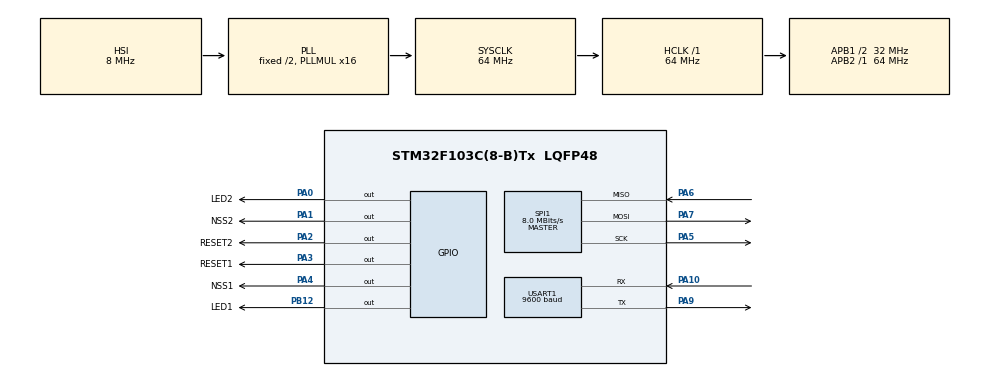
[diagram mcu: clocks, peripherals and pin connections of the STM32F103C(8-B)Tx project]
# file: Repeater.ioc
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IWDG.Prescaler=IWDG_PRESCALER_16
Mcu.Family=STM32F1
Mcu.Name=STM32F103C(8-B)Tx
Mcu.Package=LQFP48
NVIC.PriorityGroup=NVIC_PRIORITYGROUP_4
NVIC.USART1_IRQn=true\:0\:0\:false\:false\:true\:true\:true
PA0-WKUP.GPIO_Label=LED2
PA0-WKUP.Signal=GPIO_Output
PA1.GPIO_Label=NSS2
PA1.Signal=GPIO_Output
PA10.Mode=Asynchronous
PA10.Signal=USART1_RX
PA13.Mode=Serial_Wire
PA13.Signal=SYS_JTMS-SWDIO
PA14.Mode=Serial_Wire
PA14.Signal=SYS_JTCK-SWCLK
PA2.GPIO_Label=RESET2
PA2.Signal=GPIO_Output
PA3.GPIO_Label=RESET1
PA3.Signal=GPIO_Output
PA4.GPIO_Label=NSS1
PA4.Signal=GPIO_Output
PA5.Mode=Full_Duplex_Master
PA5.Signal=SPI1_SCK
PA6.Mode=Full_Duplex_Master
PA6.Signal=SPI1_MISO
PA7.Mode=Full_Duplex_Master
PA7.Signal=SPI1_MOSI
PA9.Mode=Asynchronous
PA9.Signal=USART1_TX
PB12.GPIO_Label=LED1
PB12.Signal=GPIO_Output
ProjectManager.HeapSize=0x200
ProjectManager.StackSize=0x400
ProjectManager.TargetToolchain=STM32CubeIDE
RCC.AHBFreq_Value=64000000
RCC.APB1CLKDivider=RCC_HCLK_DIV2
RCC.APB1Freq_Value=32000000
RCC.APB1TimFreq_Value=64000000
RCC.APB2Freq_Value=64000000
RCC.APB2TimFreq_Value=64000000
RCC.HCLKFreq_Value=64000000
RCC.PLLMUL=RCC_PLL_MUL16
RCC.SYSCLKFreq_VALUE=64000000
RCC.SYSCLKSource=RCC_SYSCLKSOURCE_PLLCLK
RCC.USBFreq_Value=64000000
SPI1.BaudRatePrescaler=SPI_BAUDRATEPRESCALER_8
SPI1.CalculateBaudRate=8.0 MBits/s
SPI1.Direction=SPI_DIRECTION_2LINES
SPI1.Mode=SPI_MODE_MASTER
SPI1.VirtualType=VM_MASTER
USART1.BaudRate=9600
USART1.VirtualMode=VM_ASYNC
VP_IWDG_VS_IWDG.Mode=IWDG_Activate
board=custom

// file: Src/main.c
/* USER CODE BEGIN Header */
/**
 ******************************************************************************
 * @file           : main.c
 * @brief          : Main program body
 ******************************************************************************
 * @attention
 *
 * <h2><center>&copy; Copyright (c) 2020 STMicroelectronics.
 * All rights reserved.</center></h2>
 *
 * This software component is licensed by ST under BSD 3-Clause license,
 * the "License"; You may not use this file except in compliance with the
 * License. You may obtain a copy of the License at:
 *                        opensource.org/licenses/BSD-3-Clause
 *
 ******************************************************************************
 */
/* USER CODE END Header */

#include "main.h"

/* USER CODE BEGIN Includes */
//#define RANGE_TEST
/* USER CODE END Includes */

/* USER CODE BEGIN PM */
repeaterSettings_t *flashSettings = (repeaterSettings_t*) 0x0800FC00;
/* USER CODE END PM */

IWDG_HandleTypeDef hiwdg;

SPI_HandleTypeDef hspi1;

UART_HandleTypeDef huart1;

/* USER CODE BEGIN PV */

char string[32];

SX127X_t myRadio1;
SX127X_t myRadio2;
repeaterSettings_t settings;
char error[40];
flag_t flag;
const uint32_t version = 1;
/* USER CODE END PV */

void SystemClock_Config(void);
static void MX_GPIO_Init(void);
static void MX_SPI1_Init(void);
static void MX_USART1_UART_Init(void);
static void MX_IWDG_Init(void);

/* USER CODE BEGIN 0 */
void saveSettings() {
	uint16_t i = 0;
	uint16_t const settingsSize = (sizeof(repeaterSettings_t) + 3) / 4;
	FLASH_EraseInitTypeDef eraseInit;
	uint32_t pageError;
	eraseInit.TypeErase = FLASH_TYPEERASE_PAGES;
	eraseInit.PageAddress = (uint32_t) flashSettings;
	eraseInit.NbPages = 1;
	HAL_FLASH_Unlock();
	HAL_FLASHEx_Erase(&eraseInit, &pageError);
	for (i = 0; i < settingsSize; i++)
		HAL_FLASH_Program(FLASH_TYPEPROGRAM_WORD,
				((uint32_t) flashSettings) + 4 * i,
				*(((uint32_t*) &settings) + i));
	HAL_FLASH_Lock();
}

void settingsInitiate() {
	myRadio1.sf = settings.sf1;
	myRadio1.bw = settings.bw1;
	myRadio1.cr = settings.cr1;
	myRadio1.frequency = (uint32_t) (settings.realFrequency1 / 61.035f);
	myRadio1.preamble = settings.preamble1;
	myRadio1.power = settings.power1;
	myRadio1.syncWord = settings.sw1;

	myRadio2.sf = settings.sf2;
	myRadio2.bw = settings.bw2;
	myRadio2.cr = settings.cr2;
	myRadio2.frequency = (uint32_t) (settings.realFrequency2 / 61.035f);
	myRadio2.preamble = settings.preamble2;
	myRadio2.power = settings.power2;
	myRadio2.syncWord = settings.sw2;

}

uint8_t tryLoadSettings() {
	if (flashSettings->realFrequency1 >= MIN_FREQUENCY
			&& flashSettings->realFrequency1 <= MAX_FREQUENCY)
		if (flashSettings->sf1 > 6 && flashSettings->sf1 < 13)
			if (flashSettings->bw1 < 10)
				if (flashSettings->cr1 > 0 && flashSettings->cr1 < 5)
					if (flashSettings->preamble1 > 1
							&& flashSettings->preamble1 < 65535)
						if (flashSettings->sw1 != 0x34)
							if (flashSettings->power1 < 21
									|| flashSettings->power1 > 9)
								if (flashSettings->realFrequency2
										>= MIN_FREQUENCY
										&& flashSettings->realFrequency2
												<= MAX_FREQUENCY)
									if (flashSettings->sf2 > 6
											&& flashSettings->sf2 < 13)
										if (flashSettings->bw2 < 10)
											if (flashSettings->cr2 > 0
													&& flashSettings->cr2 < 5)
												if (flashSettings->preamble2 > 1
														&& flashSettings->preamble2
																< 65535)
													if (flashSettings->sw2
															!= 0x34)
														if (flashSettings->power2
																< 21
																|| flashSettings->power2
																		> 9) {
															settings =
																	*flashSettings;
															settingsInitiate();
															return 1;
														}
	return 0;
}

void useDefaultSettings() {
	settings.realFrequency1 = DEF_FREQUENCY;
	settings.sf1 = 12;
	settings.bw1 = 7;
	settings.cr1 = 4;
	settings.power1 = 20;
	settings.preamble1 = 5;
	settings.sw1 = 1;

	settings.realFrequency2 = DEF_FREQUENCY2;
	settings.sf2 = 10;
	settings.bw2 = 7;
	settings.cr2 = 4;
	settings.power2 = 20;
	settings.preamble2 = 5;
	settings.sw2 = 1;

	settingsInitiate();
}

void RadioInit() {
	SX127X_dio_t nss1;
	SX127X_dio_t nss2;
	SX127X_dio_t reset1;
	SX127X_dio_t reset2;

	nss1.pin = NSS1_Pin;
	nss1.port = NSS1_GPIO_Port;
	reset1.pin = RESET1_Pin;
	reset1.port = RESET1_GPIO_Port;
	nss2.pin = NSS2_Pin;
	nss2.port = NSS2_GPIO_Port;
	reset2.pin = RESET2_Pin;
	reset2.port = RESET2_GPIO_Port;

	SX127X_PortConfig(&myRadio1, reset1, nss1, &hspi1);
	SX127X_PortConfig(&myRadio2, reset2, nss2, &hspi1);

	myRadio1.alwaysRX = true;
	myRadio1.implicitHeader = true;
	myRadio1.crcEnable = true;
	myRadio1.len = 3;

	myRadio2.alwaysRX = true;
	myRadio2.implicitHeader = true;
	myRadio2.crcEnable = true;
	myRadio2.len = 3;

	if (tryLoadSettings() == 0)
		useDefaultSettings();
#ifdef RANGE_TEST
	myRadio2.frequency = myRadio1.frequency;
	myRadio2.sf = myRadio1.sf;
	myRadio2.cr = myRadio1.cr;
	myRadio2.bw = myRadio1.bw;
	myRadio2.preamble = myRadio1.preamble;
	myRadio2.syncWord = myRadio1.syncWord;
	myRadio2.power = myRadio1.power;

#endif
	SX127X_init(&myRadio1);
	SX127X_init(&myRadio2);

	SX127X_config(&myRadio1);
	SX127X_config(&myRadio2);
}

void LedRoutine() {
	uint8_t blinker = (HAL_GetTick() % 50) > 25;

	if (myRadio1.status == TX)
		HAL_GPIO_WritePin(LED1_GPIO_Port, LED1_Pin, GPIO_PIN_RESET);
	else if (myRadio1.signalDetected)
		HAL_GPIO_WritePin(LED1_GPIO_Port, LED1_Pin, blinker);
	else
		HAL_GPIO_WritePin(LED1_GPIO_Port, LED1_Pin, GPIO_PIN_SET);

	if (myRadio2.status == TX)
		HAL_GPIO_WritePin(LED2_GPIO_Port, LED2_Pin, GPIO_PIN_RESET);
	else if (myRadio2.signalDetected)
		HAL_GPIO_WritePin(LED2_GPIO_Port, LED2_Pin, blinker);
	else
		HAL_GPIO_WritePin(LED2_GPIO_Port, LED2_Pin, GPIO_PIN_SET);
}

void HAL_UART_RxCpltCallback(UART_HandleTypeDef *huart) {
	readByte();
}

/* USER CODE END 0 */

int main(void)
{

  /* MCU Configuration--------------------------------------------------------*/

  /* Reset of all peripherals, Initializes the Flash interface and the Systick. */
  HAL_Init();

  /* Configure the system clock */
  SystemClock_Config();

  /* Initialize all configured peripherals */
  MX_GPIO_Init();
  MX_SPI1_Init();
  MX_USART1_UART_Init();
  MX_IWDG_Init();

  /* Infinite loop */
  /* USER CODE BEGIN WHILE */

	RadioInit();

	uartInit();
#ifdef RANGE_TEST

	myRadio1.txBuf[0] = 255;
	myRadio1.txBuf[1] = 255;
	myRadio1.txBuf[2] = 1;
	myRadio2.txBuf[0] = 255;
	myRadio2.txBuf[1] = 255;
	myRadio2.txBuf[2] = 2;
#endif
	while (1) {
		HAL_IWDG_Refresh(&hiwdg);
#ifdef RANGE_TEST

		static uint32_t lastSend = 0;
		static bool first = true;
		if (HAL_GetTick() - lastSend > 1500) {
			lastSend = HAL_GetTick();
			if (first)
				SX127X_transmitAsync(&myRadio1, 3);
			else
				SX127X_transmitAsync(&myRadio2, 3);
			first = !first;
		}
#endif
		SX127X_Routine(&myRadio1);
		SX127X_Routine(&myRadio2);

		if (flag.saveSettings) {
			flag.saveSettings = 0;
			saveSettings();
		}

		if (flag.uartRx) {
			flag.uartRx = 0;

			uartReceiveHandler();

		}
#ifndef RANGE_TEST
		if (myRadio1.readBytes > 0) {
			if (myRadio1.badCrc) {
				sprintf(string, "1 to 2: Bad CRC\n");
				HAL_UART_Transmit(&huart1, (uint8_t*) string, strlen(string), 100);
				myRadio1.readBytes = 0;
				continue;
			}
			memcpy(myRadio2.txBuf, myRadio1.rxBuf, myRadio1.readBytes);
			sprintf(string, "1 to 2:  %02x %02x %02x\n", myRadio1.rxBuf[0],
					myRadio1.rxBuf[1], myRadio1.rxBuf[2]);
			HAL_UART_Transmit(&huart1, (uint8_t*) string, strlen(string), 100);
			SX127X_transmitAsync(&myRadio2, myRadio1.readBytes);
			myRadio1.readBytes = 0;
		}

		if (myRadio2.readBytes > 0) {
			if (myRadio2.badCrc) {
				sprintf(string, "2 to 1: Bad CRC\n");
				HAL_UART_Transmit(&huart1, (uint8_t*) string, strlen(string), 100);
				myRadio2.readBytes = 0;
				continue;
			}
			memcpy(myRadio1.txBuf, myRadio2.rxBuf, myRadio2.readBytes);
			sprintf(string, "2 to 1: %02x %02x %02x\n", myRadio2.rxBuf[0],
					myRadio2.rxBuf[1], myRadio2.rxBuf[2]);
			HAL_UART_Transmit(&huart1, (uint8_t*) string, strlen(string), 100);
			SX127X_transmitAsync(&myRadio1, myRadio2.readBytes);
			myRadio2.readBytes = 0;
		}
#endif
		LedRoutine();

    /* USER CODE END WHILE */

	}
}

void SystemClock_Config(void)
{
  RCC_OscInitTypeDef RCC_OscInitStruct = {0};
  RCC_ClkInitTypeDef RCC_ClkInitStruct = {0};

  /** Initializes the CPU, AHB and APB busses clocks
  */
  RCC_OscInitStruct.OscillatorType = RCC_OSCILLATORTYPE_HSI|RCC_OSCILLATORTYPE_LSI;
  RCC_OscInitStruct.HSIState = RCC_HSI_ON;
  RCC_OscInitStruct.HSICalibrationValue = RCC_HSICALIBRATION_DEFAULT;
  RCC_OscInitStruct.LSIState = RCC_LSI_ON;
  RCC_OscInitStruct.PLL.PLLState = RCC_PLL_ON;
  RCC_OscInitStruct.PLL.PLLSource = RCC_PLLSOURCE_HSI_DIV2;
  RCC_OscInitStruct.PLL.PLLMUL = RCC_PLL_MUL16;
  if (HAL_RCC_OscConfig(&RCC_OscInitStruct) != HAL_OK)
  {
    Error_Handler();
  }
  /** Initializes the CPU, AHB and APB busses clocks
  */
  RCC_ClkInitStruct.ClockType = RCC_CLOCKTYPE_HCLK|RCC_CLOCKTYPE_SYSCLK
                              |RCC_CLOCKTYPE_PCLK1|RCC_CLOCKTYPE_PCLK2;
  RCC_ClkInitStruct.SYSCLKSource = RCC_SYSCLKSOURCE_PLLCLK;
  RCC_ClkInitStruct.AHBCLKDivider = RCC_SYSCLK_DIV1;
  RCC_ClkInitStruct.APB1CLKDivider = RCC_HCLK_DIV2;
  RCC_ClkInitStruct.APB2CLKDivider = RCC_HCLK_DIV1;

  if (HAL_RCC_ClockConfig(&RCC_ClkInitStruct, FLASH_LATENCY_2) != HAL_OK)
  {
    Error_Handler();
  }
}

static void MX_IWDG_Init(void)
{

  hiwdg.Instance = IWDG;
  hiwdg.Init.Prescaler = IWDG_PRESCALER_16;
  hiwdg.Init.Reload = 4095;
  if (HAL_IWDG_Init(&hiwdg) != HAL_OK)
  {
    Error_Handler();
  }

}

static void MX_SPI1_Init(void)
{

  /* SPI1 parameter configuration*/
  hspi1.Instance = SPI1;
  hspi1.Init.Mode = SPI_MODE_MASTER;
  hspi1.Init.Direction = SPI_DIRECTION_2LINES;
  hspi1.Init.DataSize = SPI_DATASIZE_8BIT;
  hspi1.Init.CLKPolarity = SPI_POLARITY_LOW;
  hspi1.Init.CLKPhase = SPI_PHASE_1EDGE;
  hspi1.Init.NSS = SPI_NSS_SOFT;
  hspi1.Init.BaudRatePrescaler = SPI_BAUDRATEPRESCALER_8;
  hspi1.Init.FirstBit = SPI_FIRSTBIT_MSB;
  hspi1.Init.TIMode = SPI_TIMODE_DISABLE;
  hspi1.Init.CRCCalculation = SPI_CRCCALCULATION_DISABLE;
  hspi1.Init.CRCPolynomial = 10;
  if (HAL_SPI_Init(&hspi1) != HAL_OK)
  {
    Error_Handler();
  }

}

static void MX_USART1_UART_Init(void)
{

  huart1.Instance = USART1;
  huart1.Init.BaudRate = 9600;
  huart1.Init.WordLength = UART_WORDLENGTH_8B;
  huart1.Init.StopBits = UART_STOPBITS_1;
  huart1.Init.Parity = UART_PARITY_NONE;
  huart1.Init.Mode = UART_MODE_TX_RX;
  huart1.Init.HwFlowCtl = UART_HWCONTROL_NONE;
  huart1.Init.OverSampling = UART_OVERSAMPLING_16;
  if (HAL_UART_Init(&huart1) != HAL_OK)
  {
    Error_Handler();
  }

}

static void MX_GPIO_Init(void)
{
  GPIO_InitTypeDef GPIO_InitStruct = {0};

  /* GPIO Ports Clock Enable */
  __HAL_RCC_GPIOA_CLK_ENABLE();
  __HAL_RCC_GPIOB_CLK_ENABLE();

  /*Configure GPIO pin Output Level */
  HAL_GPIO_WritePin(GPIOA, LED2_Pin|NSS2_Pin|RESET2_Pin|RESET1_Pin
                          |NSS1_Pin, GPIO_PIN_RESET);

  /*Configure GPIO pin Output Level */
  HAL_GPIO_WritePin(LED1_GPIO_Port, LED1_Pin, GPIO_PIN_RESET);

  /*Configure GPIO pins : LED2_Pin NSS2_Pin RESET2_Pin RESET1_Pin
                           NSS1_Pin */
  GPIO_InitStruct.Pin = LED2_Pin|NSS2_Pin|RESET2_Pin|RESET1_Pin
                          |NSS1_Pin;
  GPIO_InitStruct.Mode = GPIO_MODE_OUTPUT_PP;
  GPIO_InitStruct.Pull = GPIO_NOPULL;
  GPIO_InitStruct.Speed = GPIO_SPEED_FREQ_LOW;
  HAL_GPIO_Init(GPIOA, &GPIO_InitStruct);

  /*Configure GPIO pin : LED1_Pin */
  GPIO_InitStruct.Pin = LED1_Pin;
  GPIO_InitStruct.Mode = GPIO_MODE_OUTPUT_PP;
  GPIO_InitStruct.Pull = GPIO_NOPULL;
  GPIO_InitStruct.Speed = GPIO_SPEED_FREQ_LOW;
  HAL_GPIO_Init(LED1_GPIO_Port, &GPIO_InitStruct);

}

void Error_Handler(void)
{
}

/************************ (C) COPYRIGHT STMicroelectronics *****END OF FILE****/
